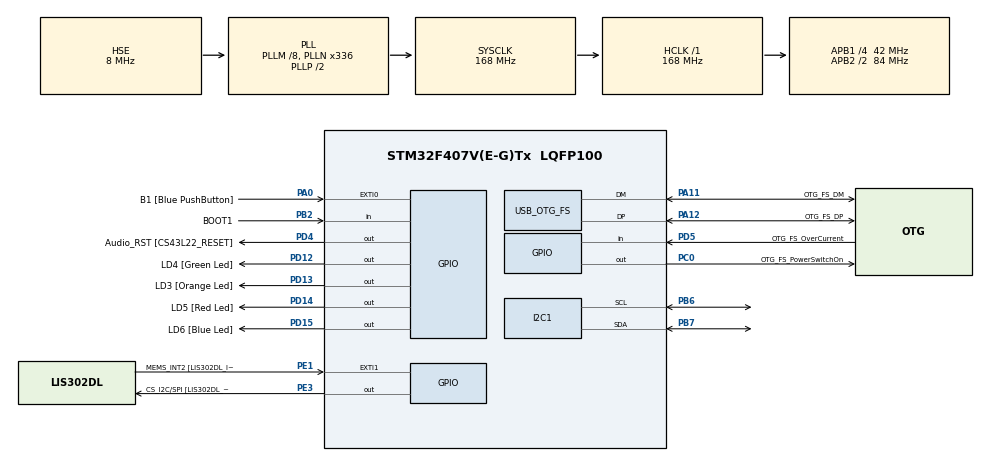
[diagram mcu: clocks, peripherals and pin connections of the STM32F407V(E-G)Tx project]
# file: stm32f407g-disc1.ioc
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Dma.I2C1_RX.0.Direction=DMA_PERIPH_TO_MEMORY
Dma.I2C1_RX.0.FIFOMode=DMA_FIFOMODE_DISABLE
Dma.I2C1_RX.0.Instance=DMA1_Stream0
Dma.I2C1_RX.0.MemDataAlignment=DMA_MDATAALIGN_BYTE
Dma.I2C1_RX.0.MemInc=DMA_MINC_ENABLE
Dma.I2C1_RX.0.Mode=DMA_NORMAL
Dma.I2C1_RX.0.PeriphDataAlignment=DMA_PDATAALIGN_BYTE
Dma.I2C1_RX.0.PeriphInc=DMA_PINC_DISABLE
Dma.I2C1_RX.0.Priority=DMA_PRIORITY_LOW
Dma.I2C1_TX.1.Direction=DMA_MEMORY_TO_PERIPH
Dma.I2C1_TX.1.FIFOMode=DMA_FIFOMODE_DISABLE
Dma.I2C1_TX.1.Instance=DMA1_Stream6
Dma.I2C1_TX.1.MemDataAlignment=DMA_MDATAALIGN_BYTE
Dma.I2C1_TX.1.MemInc=DMA_MINC_ENABLE
Dma.I2C1_TX.1.Mode=DMA_NORMAL
Dma.I2C1_TX.1.PeriphDataAlignment=DMA_PDATAALIGN_BYTE
Dma.I2C1_TX.1.PeriphInc=DMA_PINC_DISABLE
Dma.I2C1_TX.1.Priority=DMA_PRIORITY_LOW
Dma.Request0=I2C1_RX
Dma.Request1=I2C1_TX
FREERTOS.Tasks01=defaultTask,24,128,StartDefaultTask,Default,NULL,Dynamic,NULL,NULL;myTestTask,8,300,myTestTaskStart,Default,NULL,Dynamic,NULL,NULL
FREERTOS.configCHECK_FOR_STACK_OVERFLOW=1
FREERTOS.configENABLE_FPU=1
FREERTOS.configMINIMAL_STACK_SIZE=64
FREERTOS.configRECORD_STACK_HIGH_ADDRESS=1
FREERTOS.configUSE_MALLOC_FAILED_HOOK=1
FREERTOS.configUSE_NEWLIB_REENTRANT=1
FREERTOS.configUSE_POSIX_ERRNO=1
I2C1.I2C_Mode=I2C_Fast
I2C1.OwnAddress1=16
Mcu.Family=STM32F4
Mcu.Name=STM32F407V(E-G)Tx
Mcu.Package=LQFP100
NVIC.DMA1_Stream0_IRQn=true\:5\:0\:false\:false\:true\:true\:true\:true\:true
NVIC.DMA1_Stream6_IRQn=true\:5\:0\:false\:false\:true\:true\:true\:true\:true
NVIC.I2C1_ER_IRQn=true\:5\:0\:false\:false\:true\:true\:true\:true\:true
NVIC.I2C1_EV_IRQn=true\:5\:0\:false\:false\:true\:true\:true\:true\:true
NVIC.OTG_FS_IRQn=true\:10\:0\:false\:false\:true\:true\:true\:true\:true
NVIC.PriorityGroup=NVIC_PRIORITYGROUP_4
PA0-WKUP.GPIO_Label=B1 [Blue PushButton]
PA0-WKUP.GPIO_ModeDefaultEXTI=GPIO_MODE_EVT_RISING
PA0-WKUP.GPIO_PuPd=GPIO_NOPULL
PA0-WKUP.Signal=GPXTI0
PA10.GPIO_Label=OTG_FS_ID
PA10.GPIO_Mode=GPIO_MODE_AF_PP
PA10.GPIO_PuPd=GPIO_NOPULL
PA10.GPIO_Speed=GPIO_SPEED_FREQ_LOW
PA10.Signal=USB_OTG_FS_ID
PA11.GPIO_Label=OTG_FS_DM
PA11.GPIO_Mode=GPIO_MODE_AF_PP
PA11.GPIO_PuPd=GPIO_NOPULL
PA11.GPIO_Speed=GPIO_SPEED_FREQ_LOW
PA11.Mode=Device_Only
PA11.Signal=USB_OTG_FS_DM
PA12.GPIO_Label=OTG_FS_DP
PA12.GPIO_Mode=GPIO_MODE_AF_PP
PA12.GPIO_PuPd=GPIO_NOPULL
PA12.GPIO_Speed=GPIO_SPEED_FREQ_LOW
PA12.Mode=Device_Only
PA12.Signal=USB_OTG_FS_DP
PA13.GPIO_Label=SWDIO
PA13.Mode=Serial_Wire
PA13.Signal=SYS_JTMS-SWDIO
PA14.GPIO_Label=SWCLK
PA14.Mode=Serial_Wire
PA14.Signal=SYS_JTCK-SWCLK
PA4.GPIO_Label=I2S3_WS [CS43L22_LRCK]
PA4.GPIO_Mode=GPIO_MODE_AF_PP
PA4.GPIO_PuPd=GPIO_NOPULL
PA4.GPIO_Speed=GPIO_SPEED_FREQ_LOW
PA4.Signal=I2S3_WS
PA5.GPIO_Label=SPI1_SCK [LIS302DL_SCL/SPC]
PA5.GPIO_Mode=GPIO_MODE_AF_PP
PA5.GPIO_PuPd=GPIO_NOPULL
PA5.GPIO_Speed=GPIO_SPEED_FREQ_LOW
PA5.Signal=SPI1_SCK
PA6.GPIO_Label=SPI1_MISO [LIS302DL_SDO]
PA6.GPIO_Mode=GPIO_MODE_AF_PP
PA6.GPIO_PuPd=GPIO_NOPULL
PA6.GPIO_Speed=GPIO_SPEED_FREQ_LOW
PA6.Signal=SPI1_MISO
PA7.GPIO_Label=SPI1_MOSI [LIS302DL_SDA/SDI/SDO]
PA7.GPIO_Mode=GPIO_MODE_AF_PP
PA7.GPIO_PuPd=GPIO_NOPULL
PA7.GPIO_Speed=GPIO_SPEED_FREQ_LOW
PA7.Signal=SPI1_MOSI
PA9.GPIO_Label=VBUS_FS
PA9.GPIO_Mode=GPIO_MODE_INPUT
PA9.GPIO_PuPd=GPIO_NOPULL
PA9.Signal=USB_OTG_FS_VBUS
PB10.GPIO_Label=CLK_IN [MP45DT02_CLK]
PB10.GPIO_Mode=GPIO_MODE_AF_PP
PB10.GPIO_PuPd=GPIO_NOPULL
PB10.GPIO_Speed=GPIO_SPEED_FREQ_LOW
PB10.Signal=I2S2_CK
PB2.GPIO_Label=BOOT1
PB2.GPIO_Mode=GPIO_MODE_INPUT
PB2.GPIO_PuPd=GPIO_NOPULL
PB2.Signal=GPIO_Input
PB3.GPIO_Label=SWO
PB3.Signal=SYS_JTDO-SWO
PB6.GPIO_Speed=GPIO_SPEED_FREQ_LOW
PB6.Mode=I2C
PB6.Signal=I2C1_SCL
PB7.GPIO_Speed=GPIO_SPEED_FREQ_LOW
PB7.Mode=I2C
PB7.Signal=I2C1_SDA
PC0.GPIO_Label=OTG_FS_PowerSwitchOn
PC0.GPIO_PuPd=GPIO_NOPULL
PC0.GPIO_Speed=GPIO_SPEED_FREQ_LOW
PC0.PinState=GPIO_PIN_SET
PC0.Signal=GPIO_Output
PC10.GPIO_Label=I2S3_SCK [CS43L22_SCLK]
PC10.GPIO_Mode=GPIO_MODE_AF_PP
PC10.GPIO_PuPd=GPIO_NOPULL
PC10.GPIO_Speed=GPIO_SPEED_FREQ_LOW
PC10.Signal=I2S3_CK
PC12.GPIO_Label=I2S3_SD [CS43L22_SDIN]
PC12.GPIO_Mode=GPIO_MODE_AF_PP
PC12.GPIO_PuPd=GPIO_NOPULL
PC12.GPIO_Speed=GPIO_SPEED_FREQ_LOW
PC12.Signal=I2S3_SD
PC14-OSC32_IN.GPIO_Label=PC14-OSC32_IN
PC14-OSC32_IN.Mode=LSE-External-Oscillator
PC14-OSC32_IN.Signal=RCC_OSC32_IN
PC15-OSC32_OUT.GPIO_Label=PC15-OSC32_OUT
PC15-OSC32_OUT.Mode=LSE-External-Oscillator
PC15-OSC32_OUT.Signal=RCC_OSC32_OUT
PC3.GPIO_Label=PDM_OUT [MP45DT02_DOUT]
PC3.GPIO_Mode=GPIO_MODE_AF_PP
PC3.GPIO_PuPd=GPIO_NOPULL
PC3.GPIO_Speed=GPIO_SPEED_FREQ_LOW
PC3.Signal=I2S2_SD
PC7.GPIO_Label=I2S3_MCK [CS43L22_MCLK]
PC7.GPIO_Mode=GPIO_MODE_AF_PP
PC7.GPIO_PuPd=GPIO_NOPULL
PC7.GPIO_Speed=GPIO_SPEED_FREQ_LOW
PC7.Signal=I2S3_MCK
PD12.GPIO_Label=LD4 [Green Led]
PD12.GPIO_PuPd=GPIO_NOPULL
PD12.GPIO_Speed=GPIO_SPEED_FREQ_LOW
PD12.Signal=GPIO_Output
PD13.GPIO_Label=LD3 [Orange Led]
PD13.GPIO_PuPd=GPIO_NOPULL
PD13.GPIO_Speed=GPIO_SPEED_FREQ_LOW
PD13.Signal=GPIO_Output
PD14.GPIO_Label=LD5 [Red Led]
PD14.GPIO_PuPd=GPIO_NOPULL
PD14.GPIO_Speed=GPIO_SPEED_FREQ_LOW
PD14.Signal=GPIO_Output
PD15.GPIO_Label=LD6 [Blue Led]
PD15.GPIO_PuPd=GPIO_NOPULL
PD15.GPIO_Speed=GPIO_SPEED_FREQ_LOW
PD15.Signal=GPIO_Output
PD4.GPIO_Label=Audio_RST [CS43L22_RESET]
PD4.GPIO_PuPd=GPIO_NOPULL
PD4.GPIO_Speed=GPIO_SPEED_FREQ_LOW
PD4.Signal=GPIO_Output
PD5.GPIO_Label=OTG_FS_OverCurrent
PD5.GPIO_Mode=GPIO_MODE_INPUT
PD5.GPIO_PuPd=GPIO_NOPULL
PD5.Signal=GPIO_Input
PE1.GPIO_Label=MEMS_INT2 [LIS302DL_INT2]
PE1.GPIO_ModeDefaultEXTI=GPIO_MODE_EVT_RISING
PE1.GPIO_PuPd=GPIO_NOPULL
PE1.Signal=GPXTI1
PE3.GPIO_Label=CS_I2C/SPI [LIS302DL_CS_I2C/SPI]
PE3.GPIO_PuPd=GPIO_NOPULL
PE3.GPIO_Speed=GPIO_SPEED_FREQ_LOW
PE3.Signal=GPIO_Output
PH0-OSC_IN.GPIO_Label=PH0-OSC_IN
PH0-OSC_IN.Mode=HSE-External-Oscillator
PH0-OSC_IN.Signal=RCC_OSC_IN
PH1-OSC_OUT.GPIO_Label=PH1-OSC_OUT
PH1-OSC_OUT.Mode=HSE-External-Oscillator
PH1-OSC_OUT.Signal=RCC_OSC_OUT
ProjectManager.HeapSize=0x600
ProjectManager.StackSize=0x400
ProjectManager.TargetToolchain=STM32CubeIDE
RCC.48MHZClocksFreq_Value=48000000
RCC.AHBFreq_Value=168000000
RCC.APB1CLKDivider=RCC_HCLK_DIV4
RCC.APB1Freq_Value=42000000
RCC.APB1TimFreq_Value=84000000
RCC.APB2CLKDivider=RCC_HCLK_DIV2
RCC.APB2Freq_Value=84000000
RCC.APB2TimFreq_Value=168000000
RCC.CortexFreq_Value=168000000
RCC.HCLKFreq_Value=168000000
RCC.HSE_VALUE=8000000
RCC.HSI_VALUE=16000000
RCC.PLLM=8
RCC.PLLN=336
RCC.PLLQ=7
RCC.SYSCLKFreq_VALUE=168000000
RCC.SYSCLKSource=RCC_SYSCLKSOURCE_PLLCLK
RCC.VCOOutputFreq_Value=336000000
USB_DEVICE.CLASS_NAME_FS=CDC
USB_DEVICE.VirtualMode-CDC_FS=Cdc
USB_DEVICE.VirtualModeFS=Cdc_FS
USB_OTG_FS.VirtualMode=Device_Only
VP_FREERTOS_VS_CMSIS_V2.Mode=CMSIS_V2
VP_USB_DEVICE_VS_USB_DEVICE_CDC_FS.Mode=CDC_FS
board=STM32F407G-DISC1

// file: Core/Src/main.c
/* USER CODE BEGIN Header */
/**
  ******************************************************************************
  * @file           : main.c
  * @brief          : Main program body
  ******************************************************************************
  * @attention
  *
  * Copyright (c) 2025 STMicroelectronics.
  * All rights reserved.
  *
  * This software is licensed under terms that can be found in the LICENSE file
  * in the root directory of this software component.
  * If no LICENSE file comes with this software, it is provided AS-IS.
  *
  ******************************************************************************
  */
/* USER CODE END Header */
#include "main.h"
#include "cmsis_os.h"
#include "dma.h"
#include "i2c.h"
#include "usb_device.h"
#include "gpio.h"

/* USER CODE BEGIN Includes */
#include "demo_task.h"
/* USER CODE END Includes */

void SystemClock_Config(void);
void MX_FREERTOS_Init(void);

int main(void)
{

  /* MCU Configuration--------------------------------------------------------*/

  /* Reset of all peripherals, Initializes the Flash interface and the Systick. */
  HAL_Init();

  /* Configure the system clock */
  SystemClock_Config();

  /* Initialize all configured peripherals */
  MX_GPIO_Init();
  MX_DMA_Init();
  MX_I2C1_Init();
  /* USER CODE BEGIN 2 */
  DemoTask_Init();
  /* USER CODE END 2 */

  /* Init scheduler */
  osKernelInitialize();

  /* Call init function for freertos objects (in cmsis_os2.c) */
  MX_FREERTOS_Init();

  /* Start scheduler */
  osKernelStart();

  /* We should never get here as control is now taken by the scheduler */

  /* Infinite loop */
  /* USER CODE BEGIN WHILE */
  //vTaskStartScheduler();
  while (1)
  {
    /* USER CODE END WHILE */

  }
}

void SystemClock_Config(void)
{
  RCC_OscInitTypeDef RCC_OscInitStruct = {0};
  RCC_ClkInitTypeDef RCC_ClkInitStruct = {0};

  /** Configure the main internal regulator output voltage
  */
  __HAL_RCC_PWR_CLK_ENABLE();
  __HAL_PWR_VOLTAGESCALING_CONFIG(PWR_REGULATOR_VOLTAGE_SCALE1);

  /** Initializes the RCC Oscillators according to the specified parameters
  * in the RCC_OscInitTypeDef structure.
  */
  RCC_OscInitStruct.OscillatorType = RCC_OSCILLATORTYPE_HSE;
  RCC_OscInitStruct.HSEState = RCC_HSE_ON;
  RCC_OscInitStruct.PLL.PLLState = RCC_PLL_ON;
  RCC_OscInitStruct.PLL.PLLSource = RCC_PLLSOURCE_HSE;
  RCC_OscInitStruct.PLL.PLLM = 8;
  RCC_OscInitStruct.PLL.PLLN = 336;
  RCC_OscInitStruct.PLL.PLLP = RCC_PLLP_DIV2;
  RCC_OscInitStruct.PLL.PLLQ = 7;
  if (HAL_RCC_OscConfig(&RCC_OscInitStruct) != HAL_OK)
  {
    Error_Handler();
  }

  /** Initializes the CPU, AHB and APB buses clocks
  */
  RCC_ClkInitStruct.ClockType = RCC_CLOCKTYPE_HCLK|RCC_CLOCKTYPE_SYSCLK
                              |RCC_CLOCKTYPE_PCLK1|RCC_CLOCKTYPE_PCLK2;
  RCC_ClkInitStruct.SYSCLKSource = RCC_SYSCLKSOURCE_PLLCLK;
  RCC_ClkInitStruct.AHBCLKDivider = RCC_SYSCLK_DIV1;
  RCC_ClkInitStruct.APB1CLKDivider = RCC_HCLK_DIV4;
  RCC_ClkInitStruct.APB2CLKDivider = RCC_HCLK_DIV2;

  if (HAL_RCC_ClockConfig(&RCC_ClkInitStruct, FLASH_LATENCY_5) != HAL_OK)
  {
    Error_Handler();
  }
}

void Error_Handler(void)
{
  __disable_irq();
  while (1)
  {
  }
}

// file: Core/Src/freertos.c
/* USER CODE BEGIN Header */
/**
  ******************************************************************************
  * File Name          : freertos.c
  * Description        : Code for freertos applications
  ******************************************************************************
  * @attention
  *
  * Copyright (c) 2025 STMicroelectronics.
  * All rights reserved.
  *
  * This software is licensed under terms that can be found in the LICENSE file
  * in the root directory of this software component.
  * If no LICENSE file comes with this software, it is provided AS-IS.
  *
  ******************************************************************************
  */
/* USER CODE END Header */

#include "FreeRTOS.h"
#include "task.h"
#include "main.h"
#include "cmsis_os.h"

/* USER CODE BEGIN Includes */
#include <demo_task.h>
#include <FreeRTOS_Helpers.h>
#include "PARSECS_LowLevelTask.h"
#include "PARSECS_HighLevelTask.h"
#include "log.h"
#include "PARSECS_Layer1.h"
/* USER CODE END Includes */

/* USER CODE BEGIN Variables */
/* Drains the LOG_SERIAL ring to USB CDC so logging never blocks myTestTask. */
osThreadId_t logTaskHandle;
const osThreadAttr_t logTask_attributes = {
  .name = "logTask",
  .stack_size = 128 * 4,
  .priority = (osPriority_t) osPriorityLow,
};
/* Logs "heartbeat <n>" once per second. */
osThreadId_t heartbeatTaskHandle;
const osThreadAttr_t heartbeatTask_attributes = {
  .name = "heartbeatTask",
  .stack_size = 256 * 4,
  .priority = (osPriority_t) osPriorityLow,
};
/* USER CODE END Variables */
/* Definitions for defaultTask */
osThreadId_t defaultTaskHandle;
const osThreadAttr_t defaultTask_attributes = {
  .name = "defaultTask",
  .stack_size = 128 * 4,
  .priority = (osPriority_t) osPriorityNormal,
};
/* Definitions for myTestTask */
osThreadId_t myTestTaskHandle;
const osThreadAttr_t myTestTask_attributes = {
  .name = "myTestTask",
  .stack_size = 300 * 4,
  .priority = (osPriority_t) osPriorityLow,
};

/* USER CODE BEGIN FunctionPrototypes */
static void HeartbeatTaskStart(void *argument);
/* USER CODE END FunctionPrototypes */

void StartDefaultTask(void *argument);
void myTestTaskStart(void *argument);

extern void MX_USB_DEVICE_Init(void);
void MX_FREERTOS_Init(void); /* (MISRA C 2004 rule 8.1) */

/* Hook prototypes */
void vApplicationStackOverflowHook(xTaskHandle xTask, signed char *pcTaskName);
void vApplicationMallocFailedHook(void);

/* USER CODE BEGIN 4 */
/* Called by the kernel when a task overflows its stack. The system can no
 * longer be trusted, so stop here and flash LD3-LD6 fast. SysTick is off with
 * interrupts disabled, so the delay is a busy loop. pcTaskName names the task
 * in the debugger. */
void vApplicationStackOverflowHook(xTaskHandle xTask, signed char *pcTaskName)
{
  (void)xTask;
  (void)pcTaskName;
  __disable_irq();
  for (;;)
  {
    HAL_GPIO_TogglePin(GPIOD, LD3_Pin | LD4_Pin | LD5_Pin | LD6_Pin);
    for (volatile uint32_t i = 0U; i < 200000U; i++)
    {
    }
  }
}
/* USER CODE END 4 */

/* USER CODE BEGIN 5 */
void vApplicationMallocFailedHook(void)
{
   /* vApplicationMallocFailedHook() will only be called if
   configUSE_MALLOC_FAILED_HOOK is set to 1 in FreeRTOSConfig.h. It is a hook
   function that will get called if a call to pvPortMalloc() fails.
   pvPortMalloc() is called internally by the kernel whenever a task, queue,
   timer or semaphore is created. It is also called by various parts of the
   demo application. If heap_1.c or heap_2.c are used, then the size of the
   heap available to pvPortMalloc() is defined by configTOTAL_HEAP_SIZE in
   FreeRTOSConfig.h, and the xPortGetFreeHeapSize() API function can be used
   to query the size of free heap space that remains (although it does not
   provide information on how the remaining heap might be fragmented). */
}
/* USER CODE END 5 */

void MX_FREERTOS_Init(void) {

  /* Create the thread(s) */
  /* creation of defaultTask */
  defaultTaskHandle = osThreadNew(StartDefaultTask, NULL, &defaultTask_attributes);

  /* creation of myTestTask */
  myTestTaskHandle = osThreadNew(myTestTaskStart, NULL, &myTestTask_attributes);

  /* USER CODE BEGIN RTOS_THREADS */
  logTaskHandle = osThreadNew(LOG_TaskStart, NULL, &logTask_attributes);
  heartbeatTaskHandle = osThreadNew(HeartbeatTaskStart, NULL, &heartbeatTask_attributes);
  /* USER CODE END RTOS_THREADS */

}

void StartDefaultTask(void *argument)
{
  /* init code for USB_DEVICE */
  MX_USB_DEVICE_Init();
  for(;;)
  {
    osDelay(1);
  }
}

void myTestTaskStart(void *argument)
{
  /* USER CODE BEGIN myTestTaskStart */
  /* LowLevelTask pumps L3/L2/L1; High Level job then USER_Send/Receive demo. */
  for(;;)
  {
    PARSECS_LowLevelTask();
    PARSECS_Protocol_Interface_Task();
    MyDemoTask();
    osDelay(1);
  }
  /* USER CODE END myTestTaskStart */
}

/* USER CODE BEGIN Application */
/* After 5 s myTestTask has run several round trips, so the stack report
 * reflects its deepest path (worst case with I2C_PROTOCOL_DEBUG on).
 * Values are free stack in words (4 bytes). */
static void HeartbeatTaskStart(void *argument)
{
  uint32_t count = 0U;
  (void)argument;
  for (;;)
  {
    osDelay(1000);
    count++;
    LOG_SERIAL("heartbeat %lu\n", (unsigned long)count);
    PARSECS_Layer1_DiagReport();
    if (count == 5U)
    {
      LOG_SERIAL("stack free words: myTestTask=%lu logTask=%lu heartbeat=%lu\n",
                 (unsigned long)uxTaskGetStackHighWaterMark((TaskHandle_t)myTestTaskHandle),
                 (unsigned long)uxTaskGetStackHighWaterMark((TaskHandle_t)logTaskHandle),
                 (unsigned long)uxTaskGetStackHighWaterMark(NULL));
    }
  }
}
/* USER CODE END Application */
